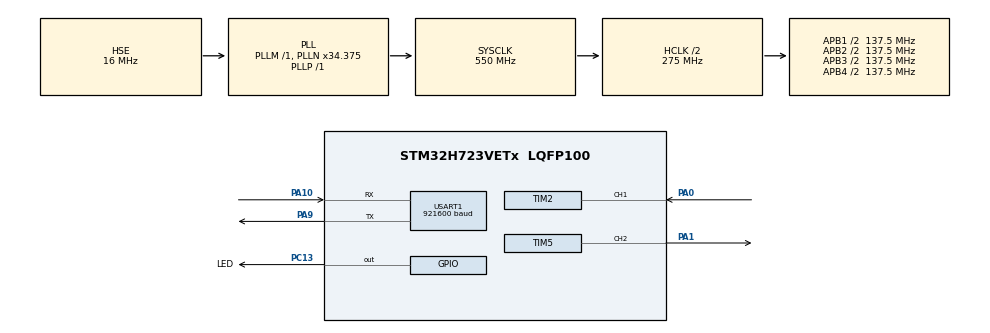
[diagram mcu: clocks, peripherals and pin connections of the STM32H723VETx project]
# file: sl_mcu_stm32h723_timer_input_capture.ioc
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CORTEX_M7.default_mode_Activation=1
Mcu.Family=STM32H7
Mcu.Name=STM32H723VETx
Mcu.Package=LQFP100
NVIC.PriorityGroup=NVIC_PRIORITYGROUP_4
NVIC.TIM2_IRQn=true\:0\:0\:false\:false\:true\:true\:true\:true
PA0.Signal=S_TIM2_CH1_ETR
PA1.Signal=S_TIM5_CH2
PA10.Mode=Asynchronous
PA10.Signal=USART1_RX
PA13(JTMS/SWDIO).Mode=Trace_Asynchronous_SW
PA13(JTMS/SWDIO).Signal=DEBUG_JTMS-SWDIO
PA14(JTCK/SWCLK).Mode=Trace_Asynchronous_SW
PA14(JTCK/SWCLK).Signal=DEBUG_JTCK-SWCLK
PA9.Mode=Asynchronous
PA9.Signal=USART1_TX
PB3(JTDO/TRACESWO).Mode=Trace_Asynchronous_SW
PB3(JTDO/TRACESWO).Signal=DEBUG_JTDO-SWO
PC13.GPIO_Label=LED
PC13.GPIO_ModeDefaultOutputPP=GPIO_MODE_OUTPUT_OD
PC13.GPIO_PuPd=GPIO_NOPULL
PC13.PinState=GPIO_PIN_SET
PC13.Signal=GPIO_Output
PH0-OSC_IN.Mode=HSE-External-Oscillator
PH0-OSC_IN.Signal=RCC_OSC_IN
PH1-OSC_OUT.Mode=HSE-External-Oscillator
PH1-OSC_OUT.Signal=RCC_OSC_OUT
ProjectManager.HeapSize=0x200
ProjectManager.StackSize=0x400
ProjectManager.TargetToolchain=STM32CubeIDE
RCC.ADCFreq_Value=32250000
RCC.APB1Freq_Value=137500000
RCC.APB2Freq_Value=137500000
RCC.APB3Freq_Value=137500000
RCC.APB4Freq_Value=137500000
RCC.CortexFreq_Value=550000000
RCC.D1PPRE=RCC_APB3_DIV2
RCC.D2PPRE1=RCC_APB1_DIV2
RCC.D2PPRE2=RCC_APB2_DIV2
RCC.D3PPRE=RCC_APB4_DIV2
RCC.DIVM1=1
RCC.DIVN1=34
RCC.DIVP1=1
RCC.HCLKFreq_Value=275000000
RCC.HPRE=RCC_HCLK_DIV2
RCC.HSE_VALUE=16000000
RCC.PLLFRACN=3072
RCC.PLLSourceVirtual=RCC_PLLSOURCE_HSE
RCC.SYSCLKFreq_VALUE=550000000
RCC.SYSCLKSource=RCC_SYSCLKSOURCE_PLLCLK
RCC.USBFreq_Value=275000000
SH.S_TIM2_CH1_ETR.0=TIM2_CH1,PWM_Input_1
SH.S_TIM5_CH2.0=TIM5_CH2,PWM Generation2 CH2
TIM2.ClockDivision=TIM_CLOCKDIVISION_DIV2
TIM2.TIM_MasterOutputTrigger=TIM_TRGO_UPDATE
TIM5.Channel-PWM\ Generation2\ CH2=TIM_CHANNEL_2
TIM5.Period=550 - 1
TIM5.Prescaler=0
TIM5.Pulse-PWM\ Generation2\ CH2=0
USART1.BaudRate=921600
USART1.VirtualMode-Asynchronous=VM_ASYNC
VP_CRC_VS_CRC.Mode=CRC_Activate
VP_MEMORYMAP_VS_MEMORYMAP.Mode=CurAppReg
VP_TIM2_VS_ClockSourceINT.Mode=Internal
VP_TIM5_VS_ClockSourceINT.Mode=Internal
board=custom

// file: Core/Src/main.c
/* USER CODE BEGIN Header */
/**
 ******************************************************************************
 * @file           : main.c
 * @brief          : Main program body
 ******************************************************************************
 * @attention
 *
 * Copyright (c) 2026 STM32World <lth@stm32world.com>
 * All rights reserved.
 *
 * This software is licensed under terms that can be found in the LICENSE file
 * in the root directory of this software component.
 * If no LICENSE file comes with this software, it is provided AS-IS.
 *
 ******************************************************************************
 */
/* USER CODE END Header */
#include "main.h"

/* USER CODE BEGIN Includes */
#include <stdio.h>
/* USER CODE END Includes */

/* USER CODE BEGIN PD */
#define TIMER_CLOCK_FREQ 275000000
/* USER CODE END PD */

CRC_HandleTypeDef hcrc;

TIM_HandleTypeDef htim2;
TIM_HandleTypeDef htim5;

UART_HandleTypeDef huart1;

/* USER CODE BEGIN PV */

// Define some test pwm values - first column is prescaler value for pwm and second row is duty cycle (of 1000)
const uint32_t pwm_vals[][2] = {
//        { 20000 - 1, 55 },
//        { 20000 - 1, 275 },
//        { 20000 - 1, 495 },
//        { 10000 - 1, 55 },
//        { 10000 - 1, 275 },
//        { 10000 - 1, 495 },
        { 5000 - 1, 55 },
        { 5000 - 1, 275 },
        { 5000 - 1, 495 },
        { 2500 - 1, 55 },
        { 2500 - 1, 275 },
        { 2500 - 1, 495 },
        { 1250 - 1, 55 },
        { 1250 - 1, 275 },
        { 1250 - 1, 495 },
        { 625 - 1, 55 },
        { 625 - 1, 275 },
        { 625 - 1, 495 },
//        { 250 - 1, 55 },
//        { 250 - 1, 275 },
//        { 250 - 1, 495 },
//        { 100 - 1, 55 },
//        { 100 - 1, 275 },
//        { 100 - 1, 495 },
//        { 50 - 1, 55 },
//        { 50 - 1, 275 },
//        { 50 - 1, 495 },
};

// Used to cycle around the pwm values
uint32_t pwm_vals_idx = 0;

// Will be calculated in interrupt callback
uint32_t cnt_full = 0;
uint32_t cnt_high = 0;
float freq = 0;
float duty = 0;

/* USER CODE END PV */

void SystemClock_Config(void);
static void MPU_Config(void);
static void MX_GPIO_Init(void);
static void MX_USART1_UART_Init(void);
static void MX_CRC_Init(void);
static void MX_TIM2_Init(void);
static void MX_TIM5_Init(void);

/* USER CODE BEGIN 0 */

void HAL_TIM_IC_CaptureCallback(TIM_HandleTypeDef *htim) {
    if (htim->Instance == TIM2) {
        cnt_full = HAL_TIM_ReadCapturedValue(htim, TIM_CHANNEL_1) + 2;
        cnt_high = HAL_TIM_ReadCapturedValue(htim, TIM_CHANNEL_2) + 2;
    }
}

/* USER CODE END 0 */

int main(void)
{

    /* MPU Configuration--------------------------------------------------------*/
    MPU_Config();

    /* MCU Configuration--------------------------------------------------------*/

    /* Reset of all peripherals, Initializes the Flash interface and the Systick. */
    HAL_Init();

    /* Configure the system clock */
    SystemClock_Config();

    /* Initialize all configured peripherals */
    MX_GPIO_Init();
    MX_USART1_UART_Init();
    MX_CRC_Init();
    MX_TIM2_Init();
    MX_TIM5_Init();
    /* USER CODE BEGIN 2 */

    printf("\n\n\nStarting input capture\n");

    printf("Firing up PWM\n");
    HAL_TIM_PWM_Start(&htim5, TIM_CHANNEL_2);   // Output PWM Generation

    printf("Firing up PWM Input Capture\n");
    HAL_TIM_IC_Start_IT(&htim2, TIM_CHANNEL_1); // Primary channel - rising edge - rinse and repeat
    HAL_TIM_IC_Start(&htim2, TIM_CHANNEL_2);    // Secondary channel - falling edge - stop second counter

    /* USER CODE END 2 */

    /* Infinite loop */
    /* USER CODE BEGIN WHILE */

    uint32_t now, loop_cnt = 0, next_blink = 500, next_tick = 1000, next_change = 0;

    while (1) {

        now = uwTick;

        if (now >= next_blink) {
            HAL_GPIO_TogglePin(LED_GPIO_Port, LED_Pin);
            next_blink = now + 500;
        }

        if (now >= next_tick) {

            float freq = (float) TIMER_CLOCK_FREQ / (cnt_full);
            float duty = (float) 100 * cnt_high / cnt_full;

            printf("Tick %5lu count = %8lu freq = %10.2f Hz duty = %7.2f %%\n", now / 1000, cnt_full, freq, duty);

            loop_cnt = 0;
            next_tick = now + 1000;
        }

        if (now >= next_change) {

            printf("Setting prescaler = %lu compare = %lu\n", pwm_vals[pwm_vals_idx][0], pwm_vals[pwm_vals_idx][1]);

            __HAL_TIM_SET_PRESCALER(&htim5, pwm_vals[pwm_vals_idx][0]);
            __HAL_TIM_SET_COMPARE(&htim5, TIM_CHANNEL_2, pwm_vals[pwm_vals_idx][1]);

            ++pwm_vals_idx;
            if (pwm_vals_idx >= sizeof(pwm_vals) / sizeof(pwm_vals[0])) {
                pwm_vals_idx = 0;
            }

            next_change = now + 5000;
        }

        ++loop_cnt;

        /* USER CODE END WHILE */

    }
}

void SystemClock_Config(void)
{
    RCC_OscInitTypeDef RCC_OscInitStruct = { 0 };
    RCC_ClkInitTypeDef RCC_ClkInitStruct = { 0 };

    /** Supply configuration update enable
     */
    HAL_PWREx_ConfigSupply(PWR_LDO_SUPPLY);

    /** Configure the main internal regulator output voltage
     */
    __HAL_PWR_VOLTAGESCALING_CONFIG(PWR_REGULATOR_VOLTAGE_SCALE0);

    while (!__HAL_PWR_GET_FLAG(PWR_FLAG_VOSRDY)) {
    }

    /** Initializes the RCC Oscillators according to the specified parameters
     * in the RCC_OscInitTypeDef structure.
     */
    RCC_OscInitStruct.OscillatorType = RCC_OSCILLATORTYPE_HSE;
    RCC_OscInitStruct.HSEState = RCC_HSE_ON;
    RCC_OscInitStruct.PLL.PLLState = RCC_PLL_ON;
    RCC_OscInitStruct.PLL.PLLSource = RCC_PLLSOURCE_HSE;
    RCC_OscInitStruct.PLL.PLLM = 1;
    RCC_OscInitStruct.PLL.PLLN = 34;
    RCC_OscInitStruct.PLL.PLLP = 1;
    RCC_OscInitStruct.PLL.PLLQ = 2;
    RCC_OscInitStruct.PLL.PLLR = 2;
    RCC_OscInitStruct.PLL.PLLRGE = RCC_PLL1VCIRANGE_3;
    RCC_OscInitStruct.PLL.PLLVCOSEL = RCC_PLL1VCOWIDE;
    RCC_OscInitStruct.PLL.PLLFRACN = 3072;
    if (HAL_RCC_OscConfig(&RCC_OscInitStruct) != HAL_OK)
            {
        Error_Handler();
    }

    /** Initializes the CPU, AHB and APB buses clocks
     */
    RCC_ClkInitStruct.ClockType = RCC_CLOCKTYPE_HCLK | RCC_CLOCKTYPE_SYSCLK
            | RCC_CLOCKTYPE_PCLK1 | RCC_CLOCKTYPE_PCLK2
            | RCC_CLOCKTYPE_D3PCLK1 | RCC_CLOCKTYPE_D1PCLK1;
    RCC_ClkInitStruct.SYSCLKSource = RCC_SYSCLKSOURCE_PLLCLK;
    RCC_ClkInitStruct.SYSCLKDivider = RCC_SYSCLK_DIV1;
    RCC_ClkInitStruct.AHBCLKDivider = RCC_HCLK_DIV2;
    RCC_ClkInitStruct.APB3CLKDivider = RCC_APB3_DIV2;
    RCC_ClkInitStruct.APB1CLKDivider = RCC_APB1_DIV2;
    RCC_ClkInitStruct.APB2CLKDivider = RCC_APB2_DIV2;
    RCC_ClkInitStruct.APB4CLKDivider = RCC_APB4_DIV2;

    if (HAL_RCC_ClockConfig(&RCC_ClkInitStruct, FLASH_LATENCY_3) != HAL_OK)
            {
        Error_Handler();
    }
}

static void MX_CRC_Init(void)
{

    hcrc.Instance = CRC;
    hcrc.Init.DefaultPolynomialUse = DEFAULT_POLYNOMIAL_ENABLE;
    hcrc.Init.DefaultInitValueUse = DEFAULT_INIT_VALUE_ENABLE;
    hcrc.Init.InputDataInversionMode = CRC_INPUTDATA_INVERSION_NONE;
    hcrc.Init.OutputDataInversionMode = CRC_OUTPUTDATA_INVERSION_DISABLE;
    hcrc.InputDataFormat = CRC_INPUTDATA_FORMAT_BYTES;
    if (HAL_CRC_Init(&hcrc) != HAL_OK)
            {
        Error_Handler();
    }

}

static void MX_TIM2_Init(void)
{

    TIM_ClockConfigTypeDef sClockSourceConfig = { 0 };
    TIM_SlaveConfigTypeDef sSlaveConfig = { 0 };
    TIM_IC_InitTypeDef sConfigIC = { 0 };
    TIM_MasterConfigTypeDef sMasterConfig = { 0 };

    htim2.Instance = TIM2;
    htim2.Init.Prescaler = 0;
    htim2.Init.CounterMode = TIM_COUNTERMODE_UP;
    htim2.Init.Period = 4294967295;
    htim2.Init.ClockDivision = TIM_CLOCKDIVISION_DIV2;
    htim2.Init.AutoReloadPreload = TIM_AUTORELOAD_PRELOAD_DISABLE;
    if (HAL_TIM_Base_Init(&htim2) != HAL_OK)
            {
        Error_Handler();
    }
    sClockSourceConfig.ClockSource = TIM_CLOCKSOURCE_INTERNAL;
    if (HAL_TIM_ConfigClockSource(&htim2, &sClockSourceConfig) != HAL_OK)
            {
        Error_Handler();
    }
    if (HAL_TIM_IC_Init(&htim2) != HAL_OK)
            {
        Error_Handler();
    }
    sSlaveConfig.SlaveMode = TIM_SLAVEMODE_RESET;
    sSlaveConfig.InputTrigger = TIM_TS_TI1FP1;
    sSlaveConfig.TriggerPolarity = TIM_INPUTCHANNELPOLARITY_RISING;
    sSlaveConfig.TriggerPrescaler = TIM_ICPSC_DIV1;
    sSlaveConfig.TriggerFilter = 0;
    if (HAL_TIM_SlaveConfigSynchro(&htim2, &sSlaveConfig) != HAL_OK)
            {
        Error_Handler();
    }
    sConfigIC.ICPolarity = TIM_INPUTCHANNELPOLARITY_RISING;
    sConfigIC.ICSelection = TIM_ICSELECTION_DIRECTTI;
    sConfigIC.ICPrescaler = TIM_ICPSC_DIV1;
    sConfigIC.ICFilter = 0;
    if (HAL_TIM_IC_ConfigChannel(&htim2, &sConfigIC, TIM_CHANNEL_1) != HAL_OK)
            {
        Error_Handler();
    }
    sConfigIC.ICPolarity = TIM_INPUTCHANNELPOLARITY_FALLING;
    sConfigIC.ICSelection = TIM_ICSELECTION_INDIRECTTI;
    if (HAL_TIM_IC_ConfigChannel(&htim2, &sConfigIC, TIM_CHANNEL_2) != HAL_OK)
            {
        Error_Handler();
    }
    sMasterConfig.MasterOutputTrigger = TIM_TRGO_UPDATE;
    sMasterConfig.MasterSlaveMode = TIM_MASTERSLAVEMODE_DISABLE;
    if (HAL_TIMEx_MasterConfigSynchronization(&htim2, &sMasterConfig) != HAL_OK)
            {
        Error_Handler();
    }

}

static void MX_TIM5_Init(void)
{

    TIM_ClockConfigTypeDef sClockSourceConfig = { 0 };
    TIM_MasterConfigTypeDef sMasterConfig = { 0 };
    TIM_OC_InitTypeDef sConfigOC = { 0 };

    htim5.Instance = TIM5;
    htim5.Init.Prescaler = 0;
    htim5.Init.CounterMode = TIM_COUNTERMODE_UP;
    htim5.Init.Period = 550 - 1;
    htim5.Init.ClockDivision = TIM_CLOCKDIVISION_DIV1;
    htim5.Init.AutoReloadPreload = TIM_AUTORELOAD_PRELOAD_DISABLE;
    if (HAL_TIM_Base_Init(&htim5) != HAL_OK)
            {
        Error_Handler();
    }
    sClockSourceConfig.ClockSource = TIM_CLOCKSOURCE_INTERNAL;
    if (HAL_TIM_ConfigClockSource(&htim5, &sClockSourceConfig) != HAL_OK)
            {
        Error_Handler();
    }
    if (HAL_TIM_PWM_Init(&htim5) != HAL_OK)
            {
        Error_Handler();
    }
    sMasterConfig.MasterOutputTrigger = TIM_TRGO_RESET;
    sMasterConfig.MasterSlaveMode = TIM_MASTERSLAVEMODE_DISABLE;
    if (HAL_TIMEx_MasterConfigSynchronization(&htim5, &sMasterConfig) != HAL_OK)
            {
        Error_Handler();
    }
    sConfigOC.OCMode = TIM_OCMODE_PWM1;
    sConfigOC.Pulse = 0;
    sConfigOC.OCPolarity = TIM_OCPOLARITY_HIGH;
    sConfigOC.OCFastMode = TIM_OCFAST_DISABLE;
    if (HAL_TIM_PWM_ConfigChannel(&htim5, &sConfigOC, TIM_CHANNEL_2) != HAL_OK)
            {
        Error_Handler();
    }
    HAL_TIM_MspPostInit(&htim5);

}

static void MX_USART1_UART_Init(void)
{

    huart1.Instance = USART1;
    huart1.Init.BaudRate = 921600;
    huart1.Init.WordLength = UART_WORDLENGTH_8B;
    huart1.Init.StopBits = UART_STOPBITS_1;
    huart1.Init.Parity = UART_PARITY_NONE;
    huart1.Init.Mode = UART_MODE_TX_RX;
    huart1.Init.HwFlowCtl = UART_HWCONTROL_NONE;
    huart1.Init.OverSampling = UART_OVERSAMPLING_16;
    huart1.Init.OneBitSampling = UART_ONE_BIT_SAMPLE_DISABLE;
    huart1.Init.ClockPrescaler = UART_PRESCALER_DIV1;
    huart1.AdvancedInit.AdvFeatureInit = UART_ADVFEATURE_NO_INIT;
    if (HAL_UART_Init(&huart1) != HAL_OK)
            {
        Error_Handler();
    }
    if (HAL_UARTEx_SetTxFifoThreshold(&huart1, UART_TXFIFO_THRESHOLD_1_8) != HAL_OK)
            {
        Error_Handler();
    }
    if (HAL_UARTEx_SetRxFifoThreshold(&huart1, UART_RXFIFO_THRESHOLD_1_8) != HAL_OK)
            {
        Error_Handler();
    }
    if (HAL_UARTEx_DisableFifoMode(&huart1) != HAL_OK)
            {
        Error_Handler();
    }

}

static void MX_GPIO_Init(void)
{
    GPIO_InitTypeDef GPIO_InitStruct = { 0 };

    /* GPIO Ports Clock Enable */
    __HAL_RCC_GPIOC_CLK_ENABLE();
    __HAL_RCC_GPIOH_CLK_ENABLE();
    __HAL_RCC_GPIOA_CLK_ENABLE();
    __HAL_RCC_GPIOB_CLK_ENABLE();

    /*Configure GPIO pin Output Level */
    HAL_GPIO_WritePin(LED_GPIO_Port, LED_Pin, GPIO_PIN_SET);

    /*Configure GPIO pin : LED_Pin */
    GPIO_InitStruct.Pin = LED_Pin;
    GPIO_InitStruct.Mode = GPIO_MODE_OUTPUT_OD;
    GPIO_InitStruct.Pull = GPIO_NOPULL;
    GPIO_InitStruct.Speed = GPIO_SPEED_FREQ_LOW;
    HAL_GPIO_Init(LED_GPIO_Port, &GPIO_InitStruct);

}

/* USER CODE BEGIN 4 */

// Send printf to uart1
int __io_putchar(int ch) {
    if (ch == '\n') {
        HAL_UART_Transmit(&huart1, (uint8_t*) "\r", 1, HAL_MAX_DELAY);
    }
    if (HAL_UART_Transmit(&huart1, (uint8_t*) &ch, 1, HAL_MAX_DELAY) != HAL_OK) {
        return -1;
    }
    return ch;
}

/* USER CODE END 4 */

/* MPU Configuration */

void MPU_Config(void)
{
    MPU_Region_InitTypeDef MPU_InitStruct = { 0 };

    /* Disables the MPU */
    HAL_MPU_Disable();

    /** Initializes and configures the Region and the memory to be protected
     */
    MPU_InitStruct.Enable = MPU_REGION_ENABLE;
    MPU_InitStruct.Number = MPU_REGION_NUMBER0;
    MPU_InitStruct.BaseAddress = 0x0;
    MPU_InitStruct.Size = MPU_REGION_SIZE_4GB;
    MPU_InitStruct.SubRegionDisable = 0x87;
    MPU_InitStruct.TypeExtField = MPU_TEX_LEVEL0;
    MPU_InitStruct.AccessPermission = MPU_REGION_NO_ACCESS;
    MPU_InitStruct.DisableExec = MPU_INSTRUCTION_ACCESS_DISABLE;
    MPU_InitStruct.IsShareable = MPU_ACCESS_SHAREABLE;
    MPU_InitStruct.IsCacheable = MPU_ACCESS_NOT_CACHEABLE;
    MPU_InitStruct.IsBufferable = MPU_ACCESS_NOT_BUFFERABLE;

    HAL_MPU_ConfigRegion(&MPU_InitStruct);
    /* Enables the MPU */
    HAL_MPU_Enable(MPU_PRIVILEGED_DEFAULT);

}

void Error_Handler(void)
{
    __disable_irq();
    while (1)
    {
    }
}
